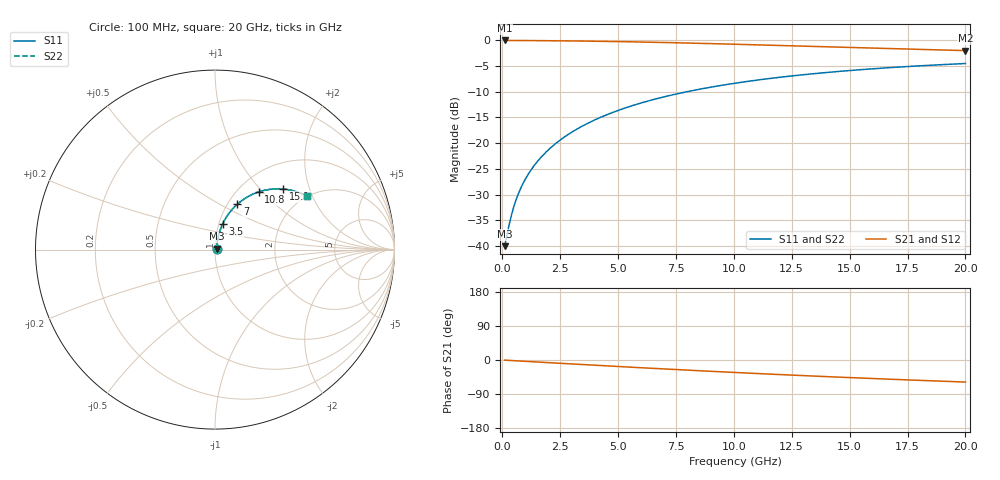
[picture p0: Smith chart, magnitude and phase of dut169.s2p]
! Touchstone file exported from HFSS 2026.1.0
!  File:  C:/ffzhzh/LocalFiles/Ansys_Project_Files/temp_train_TMRDL_169_1782983445_45328.aedt
!  Generated:  05:12:16 PM Jul  2, 2026
!  Design:  TMRDL
!  Project:  temp_train_TMRDL_169_1782983445_45328
! Variables:
!  h_bsmrdl = 2um
!  h_ox = 20um
!  h_rdl = 5um
!  h_sub = 80um
!  h_tmrdl = 2.41um
!  h_tsv = 80um
!  h_via = 3um
!  l_bsmrdl = 300um
!  l_sub = 1241.62um
!  l_tmrdl = 841.62um
!  m_sub = 200um
!  pitch = 47.52um
!  r_tsv = 6um
!  s_tmrdl = 10um
!  w_bsmrdl = 18um
!  w_sub = 500um
!  w_tmrdl = 13.84um
!  x_tsv_center1 = 848.54um
!  x_tsv_center2 = 1166.54um
!  x_tsv_center3 = 2022um
!  x_tsv_center4 = 2340um
!  x_tsv_center5 = 3195.46um
!  x_tsv_center6 = 3513.46um
# GHz S MA R 50.000000
! Terminal data exported
! Port[1] = TM_RDL1_1_T1
! Port[2] = TM_RDL1_1_T2
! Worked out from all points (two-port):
!   200 points, 100 MHz to 20 GHz, reference 50 ohm
!   highest |S21| = -0.08 dB at 100 MHz (marker M1); lowest = -2.0 dB at 20 GHz (marker M2)
!   |S21| within 3 dB of the highest: start of sweep to end of sweep
!   lowest |S11| = -40.0 dB at 100 MHz (marker M3), VSWR 1.02, Z = 50.9 + j0.456 ohm
!   |S11| at or under -10 dB: start of sweep to 8.002 GHz
!   |S22| runs from -40.0 to -4.6 dB; largest |S21 - S12| = 1.3e-14
!   S11 on the Smith chart (normalised r, x): 100 MHz: 1.02, +0.01; 3.5 GHz: 1.04, +0.30; 7 GHz: 1.11, +0.61; 10.8 GHz: 1.24, +0.95; 15.1 GHz: 1.49, +1.35; 20 GHz: 1.98, +1.82
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0.1  0.009997 26.6  0.9911 -0.4  0.9911 -0.4  0.009997 26.6
! Gamma 0 0 0 0
! Port Impedance 50 0 50 0
0.3  0.01631 54.9  0.9908 -1.1  0.9908 -1.1  0.01631 54.9
0.4  0.0202 61.2  0.9906 -1.4  0.9906 -1.4  0.0202 61.2
0.6  0.02833 68.0  0.99 -2.1  0.99 -2.1  0.02833 68.0
0.7  0.03246 70.0  0.9898 -2.5  0.9898 -2.5  0.03246 70.0
0.9  0.04074 72.5  0.9892 -3.2  0.9892 -3.2  0.04074 72.5
1.2  0.0532 74.6  0.9883 -4.2  0.9883 -4.2  0.0532 74.6
1.7  0.07398 75.7  0.9867 -6.0  0.9867 -6.0  0.07398 75.7
2.2  0.09473 75.7  0.9847 -7.7  0.9847 -7.7  0.09473 75.7
2.8  0.1195 74.9  0.9818 -9.7  0.9818 -9.7  0.1195 74.9
3.5  0.1481 73.5  0.9777 -12.1  0.9777 -12.1  0.1481 73.5
4.2  0.1761 71.7  0.9729 -14.5  0.9729 -14.5  0.1761 71.7
5  0.2075 69.6  0.9664 -17.2  0.9664 -17.2  0.2075 69.6
6.8  0.2745 64.4  0.9491 -23.0  0.9491 -23.0  0.2745 64.4
7  0.2816 63.8  0.947 -23.7  0.947 -23.7  0.2816 63.8
8.5  0.3327 59.4  0.9299 -28.3  0.9299 -28.3  0.3328 59.4
10.1  0.3827 54.8  0.9101 -33.1  0.9101 -33.1  0.3827 54.8
10.8  0.403 52.9  0.9012 -35.1  0.9012 -35.1  0.403 52.9
13.4  0.4705 45.9  0.8676 -42.3  0.8676 -42.3  0.4706 45.9
15.1  0.5082 41.6  0.8461 -46.7  0.8461 -46.7  0.5082 41.6
16.7  0.5394 37.8  0.8267 -50.6  0.8267 -50.6  0.5394 37.8
20  0.5919 30.3  0.7904 -58.2  0.7904 -58.2  0.5919 30.3
